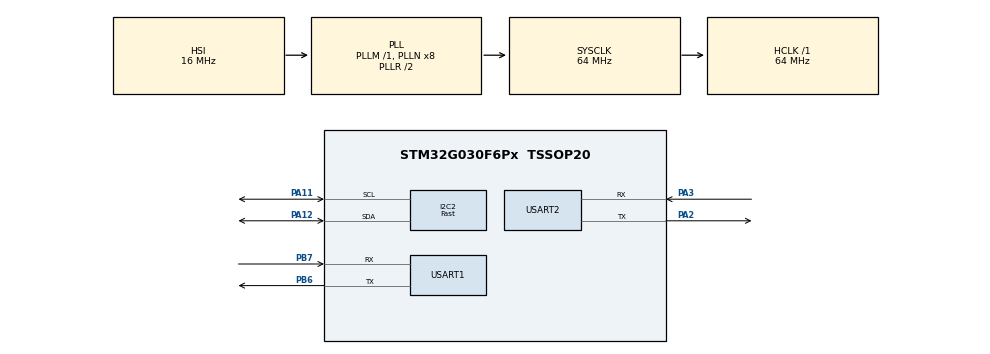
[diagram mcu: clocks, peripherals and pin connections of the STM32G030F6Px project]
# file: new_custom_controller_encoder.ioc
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Dma.Request0=USART1_RX
Dma.USART1_RX.0.Direction=DMA_PERIPH_TO_MEMORY
Dma.USART1_RX.0.EventEnable=DISABLE
Dma.USART1_RX.0.Instance=DMA1_Channel1
Dma.USART1_RX.0.MemDataAlignment=DMA_MDATAALIGN_BYTE
Dma.USART1_RX.0.MemInc=DMA_MINC_ENABLE
Dma.USART1_RX.0.Mode=DMA_CIRCULAR
Dma.USART1_RX.0.PeriphDataAlignment=DMA_PDATAALIGN_BYTE
Dma.USART1_RX.0.PeriphInc=DMA_PINC_DISABLE
Dma.USART1_RX.0.Polarity=HAL_DMAMUX_REQ_GEN_RISING
Dma.USART1_RX.0.Priority=DMA_PRIORITY_HIGH
Dma.USART1_RX.0.RequestNumber=1
Dma.USART1_RX.0.SignalID=NONE
Dma.USART1_RX.0.SyncEnable=DISABLE
Dma.USART1_RX.0.SyncPolarity=HAL_DMAMUX_SYNC_NO_EVENT
Dma.USART1_RX.0.SyncRequestNumber=1
Dma.USART1_RX.0.SyncSignalID=NONE
I2C2.Analog_Filter=I2C_ANALOGFILTER_DISABLE
I2C2.I2C_Fall_Time=10
I2C2.I2C_Rise_Time=10
I2C2.I2C_Speed_Mode=I2C_Fast
I2C2.Speed=100
I2C2.Timing=0x40100875
Mcu.Family=STM32G0
Mcu.Name=STM32G030F6Px
Mcu.Package=TSSOP20
NVIC.DMA1_Channel1_IRQn=true\:0\:0\:false\:false\:true\:false\:true\:true
NVIC.TIM1_BRK_UP_TRG_COM_IRQn=true\:0\:0\:false\:false\:true\:true\:true\:true
NVIC.USART1_IRQn=true\:0\:0\:false\:false\:true\:true\:true\:true
PA11\ [PA9].Mode=I2C
PA11\ [PA9].Signal=I2C2_SCL
PA12\ [PA10].Mode=I2C
PA12\ [PA10].Signal=I2C2_SDA
PA13.Mode=Serial_Wire
PA13.Signal=SYS_SWDIO
PA14-BOOT0.Mode=Serial_Wire
PA14-BOOT0.Signal=SYS_SWCLK
PA14-BOOT0__PA15.StandardMode=true
PA2.Mode=Asynchronous
PA2.Signal=USART2_TX
PA3.Mode=Asynchronous
PA3.Signal=USART2_RX
PB0__PB1__PB2__PA8.StandardMode=true
PB3__PB4__PB5__PB6.StandardMode=true
PB6.Mode=Asynchronous
PB6.Signal=USART1_TX
PB7.Mode=Asynchronous
PB7.Signal=USART1_RX
PB7__PB8.StandardMode=true
PC14-OSC32_IN\ (PC14)__PB9.StandardMode=true
ProjectManager.HeapSize=0x200
ProjectManager.StackSize=0x400
ProjectManager.TargetToolchain=CMake
RCC.ADCFreq_Value=64000000
RCC.AHBFreq_Value=64000000
RCC.CortexFreq_Value=64000000
RCC.EXTERNAL_CLOCK_VALUE=12288000
RCC.HCLKFreq_Value=64000000
RCC.HSE_VALUE=8000000
RCC.HSI_VALUE=16000000
RCC.LSE_VALUE=32768
RCC.SYSCLKFreq_VALUE=64000000
RCC.SYSCLKSource=RCC_SYSCLKSOURCE_PLLCLK
RCC.VCOOutputFreq_Value=128000000
TIM1.AutoReloadPreload=TIM_AUTORELOAD_PRELOAD_ENABLE
TIM1.CounterMode=TIM_COUNTERMODE_DOWN
TIM1.Period=20000-1
TIM1.Prescaler=63
USART1.VirtualMode-Asynchronous=VM_ASYNC
USART2.VirtualMode-Asynchronous=VM_ASYNC
VP_TIM1_VS_ClockSourceINT.Mode=Internal
board=custom

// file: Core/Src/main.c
/* USER CODE BEGIN Header */
/**
  ******************************************************************************
  * @file           : main.c
  * @brief          : Main program body
  ******************************************************************************
  * @attention
  *
  * Copyright (c) 2025 STMicroelectronics.
  * All rights reserved.
  *
  * This software is licensed under terms that can be found in the LICENSE file
  * in the root directory of this software component.
  * If no LICENSE file comes with this software, it is provided AS-IS.
  *
  ******************************************************************************
  */
/* USER CODE END Header */
#include "main.h"
#include "dma.h"
#include "i2c.h"
#include "stm32g0xx_hal.h"
#include "stm32g0xx_hal_def.h"
#include "stm32g0xx_hal_uart.h"
#include "tim.h"
#include "usart.h"
#include "gpio.h"

/* USER CODE BEGIN Includes */
#include <stdint.h>
#include <stdio.h>
#include <string.h>

/* USER CODE END Includes */

/* USER CODE BEGIN PTD */
enum {
  reset = 0,
  master,
  slave
} mode;
/* USER CODE END PTD */

/* USER CODE BEGIN PD */
#define DATA_LENGTH 10
#define MASTER_SENT_TIME_OUT 30
#define SLAVE_SENT_TIME_OUT 30
#define SLAVE_RECEIVE_TIME_OUT 40
/* USER CODE END PD */

/* USER CODE BEGIN PV */
uint8_t RawData[2] ={0};//原始数据
uint16_t RawAngle = 0;//原始角度值
uint8_t Start_pData[8] = {0};
uint16_t Data[DATA_LENGTH] = {0};//包头0x55AA，DATA_LENGTH-2个数据，最后一位为传感器链路位置
/* USER CODE END PV */

void SystemClock_Config(void);
/* USER CODE BEGIN PFP */
void CycDataProc(void);
/* USER CODE END PFP */

int main(void)
{

  /* MCU Configuration--------------------------------------------------------*/

  /* Reset of all peripherals, Initializes the Flash interface and the Systick. */
  HAL_Init();

  /* Configure the system clock */
  SystemClock_Config();

  /* Initialize all configured peripherals */
  MX_GPIO_Init();
  MX_DMA_Init();
  MX_I2C2_Init();
  MX_USART1_UART_Init();
  MX_USART2_UART_Init();
  MX_TIM1_Init();
  /* USER CODE BEGIN 2 */
  mode = master;

  // HAL_UART_Receive_IT(&huart1, Start_pData, 8);

  // HAL_Delay(1000);

  // HAL_UART_Transmit(&huart2, (uint8_t *)"Start\r\n", 8, HAL_MAX_DELAY);//发送信号以确定链路起始

  // HAL_Delay(1000);
  // HAL_UART_AbortReceive_IT(&huart1);

  if(mode == reset) //初始化-判断是否为主机
    mode = master;

  if(mode == master)
  {
    HAL_TIM_Base_Start_IT(&htim1); //主机启动定时器中断
  }

  if(mode == slave)
  {
    HAL_UART_Receive_DMA(&huart1, (uint8_t *)Data, DATA_LENGTH*2); //从机启动DMA接收
  }

  /* USER CODE END 2 */

  /* Infinite loop */
  /* USER CODE BEGIN WHILE */
  while (1)
  {

    HAL_I2C_Mem_Read(&hi2c2, 0x36<<1,
                    0x0C, I2C_MEMADD_SIZE_8BIT,
                    RawData, 2, 100);
    RawAngle = (RawData[0]<<8 | RawData[1]);
    HAL_Delay(5);
    /* USER CODE END WHILE */

  }
}

void SystemClock_Config(void)
{
  RCC_OscInitTypeDef RCC_OscInitStruct = {0};
  RCC_ClkInitTypeDef RCC_ClkInitStruct = {0};

  /** Configure the main internal regulator output voltage
  */
  HAL_PWREx_ControlVoltageScaling(PWR_REGULATOR_VOLTAGE_SCALE1);

  /** Initializes the RCC Oscillators according to the specified parameters
  * in the RCC_OscInitTypeDef structure.
  */
  RCC_OscInitStruct.OscillatorType = RCC_OSCILLATORTYPE_HSI;
  RCC_OscInitStruct.HSIState = RCC_HSI_ON;
  RCC_OscInitStruct.HSIDiv = RCC_HSI_DIV1;
  RCC_OscInitStruct.HSICalibrationValue = RCC_HSICALIBRATION_DEFAULT;
  RCC_OscInitStruct.PLL.PLLState = RCC_PLL_ON;
  RCC_OscInitStruct.PLL.PLLSource = RCC_PLLSOURCE_HSI;
  RCC_OscInitStruct.PLL.PLLM = RCC_PLLM_DIV1;
  RCC_OscInitStruct.PLL.PLLN = 8;
  RCC_OscInitStruct.PLL.PLLP = RCC_PLLP_DIV2;
  RCC_OscInitStruct.PLL.PLLR = RCC_PLLR_DIV2;
  if (HAL_RCC_OscConfig(&RCC_OscInitStruct) != HAL_OK)
  {
    Error_Handler();
  }

  /** Initializes the CPU, AHB and APB buses clocks
  */
  RCC_ClkInitStruct.ClockType = RCC_CLOCKTYPE_HCLK|RCC_CLOCKTYPE_SYSCLK
                              |RCC_CLOCKTYPE_PCLK1;
  RCC_ClkInitStruct.SYSCLKSource = RCC_SYSCLKSOURCE_PLLCLK;
  RCC_ClkInitStruct.AHBCLKDivider = RCC_SYSCLK_DIV1;
  RCC_ClkInitStruct.APB1CLKDivider = RCC_HCLK_DIV1;

  if (HAL_RCC_ClockConfig(&RCC_ClkInitStruct, FLASH_LATENCY_2) != HAL_OK)
  {
    Error_Handler();
  }
}

/* USER CODE BEGIN 4 */
void CycDataProc(void)
{
  // 优化：一次性定位帧头并旋转缓冲区，避免O(n^2)逐字节前移；修正小端字节序匹配
  uint8_t *p = (uint8_t *)Data;
  const size_t len = DATA_LENGTH * 2U; // 字节数
  size_t i = 0;

  // 查找小端序的帧头 0x55AA -> 字节序列 0xAA 0x55
  while (i + 1 < len) {
    if (p[i] == 0xAA && p[i + 1] == 0x55) {
      break;
    }
    ++i;
  }

  // 已对齐或未找到帧头则返回
  if (i == 0 || i + 1 >= len) {
    return;
  }

  // 旋转：把 [i, len) 移到前面，把 [0, i) 追加到末尾
  uint8_t tmp[DATA_LENGTH * 2U]; // 最大20字节
  memcpy(tmp, p, i);                 // 保存前 i 字节
  memmove(p, p + i, len - i);        // 前移剩余数据
  memcpy(p + (len - i), tmp, i);     // 追加原前缀
}

void HAL_UART_RxCpltCallback(UART_HandleTypeDef *huart)
{
  if(huart->Instance == USART1 && mode == reset) //初始化-判断是否为从机
  {
    if(strcmp((char *)Start_pData,"Start\r\n")==0)
      mode = slave;
  }

  if(huart->Instance == USART1 && mode == slave) //从机接收完成回调
  {
    CycDataProc(); //循环数据处理
    Data[DATA_LENGTH - 1]++ ; //标记数据链路位置为从机位置
    Data[Data[DATA_LENGTH - 1]] = RawAngle; //存储数据
    HAL_UART_Transmit(&huart2, (uint8_t *)Data, DATA_LENGTH * 2, SLAVE_SENT_TIME_OUT);
  }

}

void HAL_TIM_PeriodElapsedCallback(TIM_HandleTypeDef *htim)
{
  if(htim->Instance == TIM1) //主机定时器中断
  {
    Data[0] = 0x55AA; //存储数据
    Data[1] = RawAngle;
    Data[DATA_LENGTH - 1] = 1; //标记数据链路位置为主机位置
    HAL_UART_Transmit(&huart2, (uint8_t *)Data, DATA_LENGTH * 2, MASTER_SENT_TIME_OUT);
  }
}

/* USER CODE END 4 */

void Error_Handler(void)
{
  __disable_irq();
  while (1)
  {
  }
}
